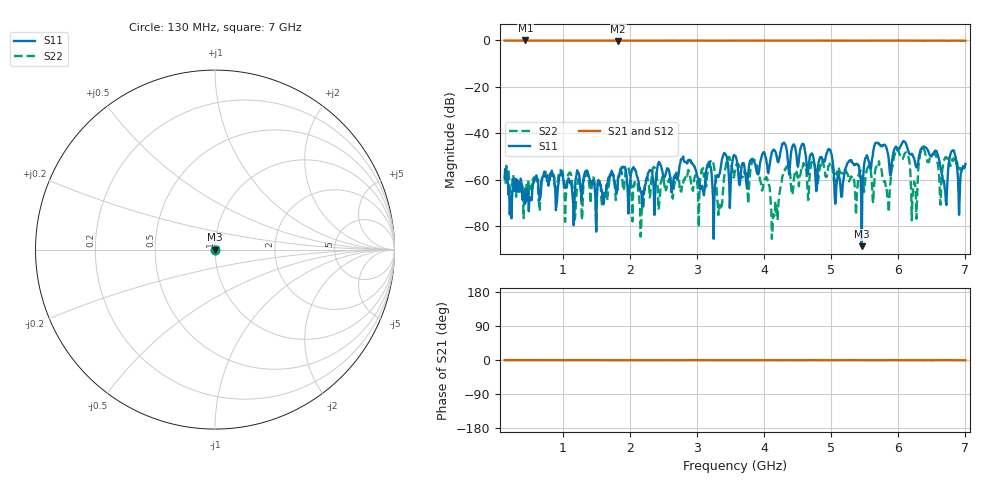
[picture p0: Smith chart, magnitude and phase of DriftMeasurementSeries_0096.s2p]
# Hz S RI R 50.000000
! Metas.Vna.Tools, 2.8.8664.20301
! Metas.Vna.Data, 2.8.8664.20285
! Created: UTC 2024.02.11 10:08:55
! FREQ  re:S1,1  im:S1,1  re:S2,1  im:S2,1  re:S1,2  im:S1,2  re:S2,2  im:S2,2
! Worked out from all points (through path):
!   801 points, 130 MHz to 7 GHz, reference 50 ohm
!   highest |S21| = -0.06 dB at 439.1 MHz (marker M1); lowest = -0.2 dB at 1.822 GHz (marker M2)
!   lowest |S11| = -88.7 dB at 5.454 GHz (marker M3), VSWR 1.00, Z = 50 + j0.00196 ohm
!   |S11| at or under -10 dB: start of sweep to end of sweep
!   |S22| runs from -85.6 to -46.4 dB; largest |S21 - S12| = 0.028
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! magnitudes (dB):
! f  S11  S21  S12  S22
! 130 MHz  -59.5  -0.1  0.0  -58.2
! 439.1 MHz  -70.4  -0.1  0.0  -64.7
! 1.281 GHz  -69.0  -0.1  0.0  -77.4
! 1.822 GHz  -59.2  -0.2  0.0  -59.5
! 2.423 GHz  -52.9  -0.2  0.0  -73.0
! 3.213 GHz  -56.5  -0.1  0.0  -51.5
! 3.342 GHz  -56.8  -0.2  0.0  -72.3
! 3.453 GHz  -52.5  -0.1  0.0  -51.3
! 3.565 GHz  -49.7  -0.1  0.0  -56.4
! 3.866 GHz  -53.3  -0.2  0.0  -52.0
! 4.14 GHz  -47.1  -0.1  0.0  -75.0
! 4.321 GHz  -45.3  -0.1  0.0  -55.0
! 4.716 GHz  -48.7  -0.1  0.0  -52.5
! 5.454 GHz  -88.7  -0.1  0.0  -58.7
! 5.678 GHz  -44.1  -0.1  0.0  -54.3
! 5.858 GHz  -51.7  -0.1  0.0  -74.1
! 5.978 GHz  -46.6  -0.1  0.0  -47.8
! 6.236 GHz  -50.9  -0.1  0.0  -60.9
! 6.356 GHz  -46.2  -0.2  0.0  -46.7
! 6.699 GHz  -64.7  -0.1  0.0  -50.4
! 6.802 GHz  -47.6  -0.2  0.0  -51.3
! 7 GHz  -53.3  -0.2  0.0  -55.0
